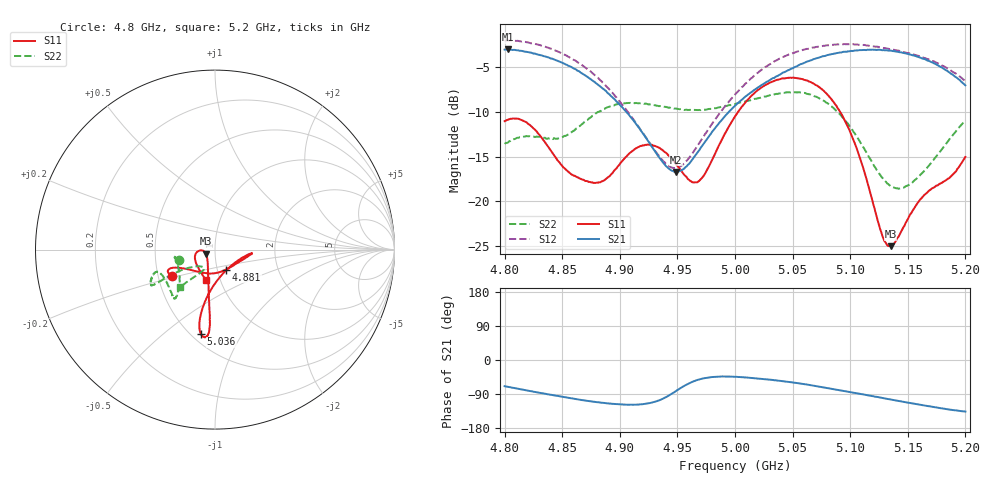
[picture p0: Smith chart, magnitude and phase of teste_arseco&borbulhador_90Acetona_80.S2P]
! Network Analyzer HP8722D
! Hewlett-Packard
! Data name: Linha & Wilkinson
! Saver's name: Rodrigo Anjos
! Comments: Teste da utilização de aquisição
! continua pelo VNA HP8722D
! Time and date: 17/4/2025 11:43
!  Frequency  S11  S21  S12  S22
# HZ  S  MA R 50
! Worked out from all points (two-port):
!   401 points, 4.8 GHz to 5.2 GHz, reference 50 ohm
!   highest |S21| = -2.99 dB at 4.803 GHz (marker M1); lowest = -16.7 dB at 4.949 GHz (marker M2)
!   |S21| within 3 dB of the highest: start of sweep to 4.871 GHz; 5.036 GHz to 5.191 GHz (154.1 MHz wide, 3.01 % of centre)
!   lowest |S11| = -25.0 dB at 5.135 GHz (marker M3), VSWR 1.12, Z = 45.1 - j2.01 ohm
!   |S11| at or under -10 dB: start of sweep to 5.003 GHz; 5.091 GHz to end of sweep
!   |S22| runs from -18.6 to -7.8 dB; largest |S21 - S12| = 1.5
!   S11 on the Smith chart (normalised r, x): 4.8 GHz: 0.59, -0.19; 4.881 GHz: 1.10, -0.25; 5.036 GHz: 0.56, -0.68; 5.2 GHz: 0.86, -0.30
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4.8e9  0.2808 -148.1  0.7071 -69.1  0.7946 121.3  0.2095 -163.5
4.803e9  0.2861 -150.5  0.7088 -70.9  0.795 119.9  0.2132 -164.9
4.817e9  0.2809 -156.7  0.6898 -79.2  0.7813 113.8  0.2302 -170.8
4.833e9  0.223 -152.9  0.6532 -87.9  0.7418 107.6  0.2281 -168.2
4.867e9  0.1325 -93.3  0.521 -105.7  0.5804 96.0  0.2695 -137.2
4.881e9  0.1269 -61.0  0.4498 -111.4  0.492 91.6  0.3162 -131.1
4.915e9  0.1993 -8.2  0.2662 -117.7  0.2681 90.5  0.3542 -130.7
4.934e9  0.1993 -6.2  0.1767 -106.7  0.1795 105.2  0.3407 -135.3
4.949e9  0.1604 -15.8  0.1458 -81.2  0.1534 131.7  0.3304 -141.6
4.969e9  0.13 -59.9  0.1931 -51.3  0.2116 162.6  0.3246 -151.3
5e9  0.2985 -101.0  0.3421 -44.4  0.3957 172.9  0.3491 -159.1
5.036e9  0.4778 -99.4  0.5007 -53.8  0.6151 166.0  0.3995 -153.8
5.067e9  0.4603 -94.1  0.6191 -66.9  0.7249 154.9  0.3919 -150.0
5.083e9  0.3777 -94.4  0.6642 -75.5  0.7518 148.0  0.3426 -150.0
5.098e9  0.2613 -97.6  0.6909 -83.6  0.7578 140.9  0.272 -149.9
5.11e9  0.1632 -103.3  0.7026 -90.1  0.7509 135.0  0.208 -147.8
5.128e9  0.06375 -133.2  0.7011 -100.1  0.7241 126.2  0.1348 -135.9
5.134e9  0.05611 -153.6  0.6973 -103.6  0.7122 123.4  0.123 -130.1
5.135e9  0.05592 -156.6  0.6985 -104.2  0.7111 123.1  0.1217 -129.0
5.155e9  0.09003 -175.6  0.6558 -115.0  0.6633 114.5  0.1294 -119.4
5.177e9  0.1243 -153.0  0.5728 -126.4  0.5887 106.8  0.1859 -126.5
5.2e9  0.1769 -106.5  0.4458 -136.1  0.4706 102.0  0.2842 -133.1
